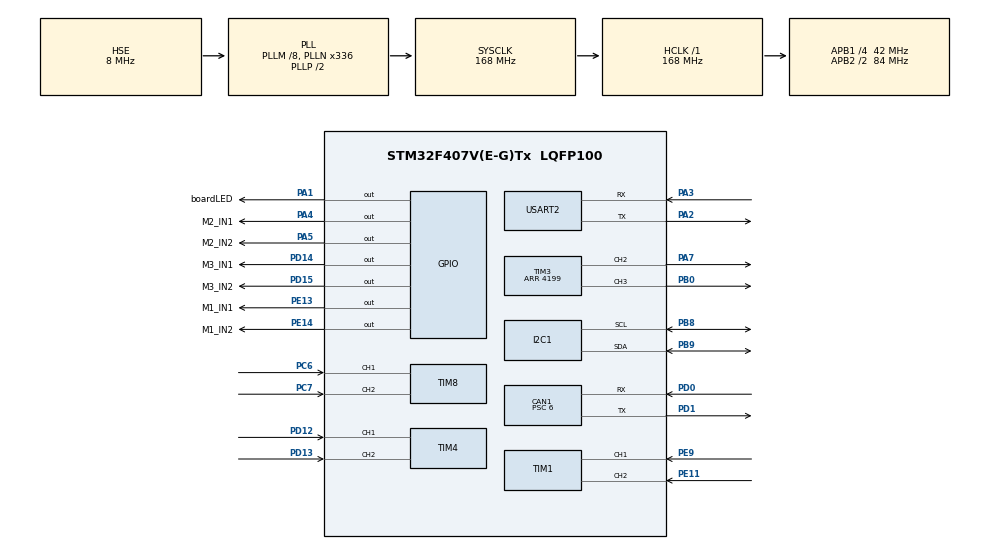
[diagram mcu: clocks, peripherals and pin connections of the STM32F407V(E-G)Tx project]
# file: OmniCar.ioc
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CAN1.BS1=CAN_BS1_11TQ
CAN1.BS2=CAN_BS2_2TQ
CAN1.CalculateBaudRate=500000
CAN1.CalculateTimeBit=2000
CAN1.CalculateTimeQuantum=142.85714285714286
CAN1.Prescaler=6
CAN1.SJW=CAN_SJW_1TQ
FREERTOS.Tasks01=defaultTask,24,256,StartDefaultTask,Default,NULL,Dynamic,NULL,NULL
FREERTOS.configCHECK_FOR_STACK_OVERFLOW=2
FREERTOS.configTOTAL_HEAP_SIZE=32768
FREERTOS.configUSE_MALLOC_FAILED_HOOK=1
FREERTOS.configUSE_STATS_FORMATTING_FUNCTIONS=1
I2C1.I2C_Mode=I2C_Fast
Mcu.Family=STM32F4
Mcu.Name=STM32F407V(E-G)Tx
Mcu.Package=LQFP100
NVIC.CAN1_RX0_IRQn=true\:5\:0\:false\:false\:true\:true\:true\:true\:true
NVIC.PriorityGroup=NVIC_PRIORITYGROUP_4
NVIC.TIM6_DAC_IRQn=true\:15\:0\:false\:false\:true\:false\:false\:true\:true
NVIC.TimeBase=TIM6_DAC_IRQn
NVIC.TimeBaseIP=TIM6
PA1.GPIO_Label=boardLED
PA1.GPIO_ModeDefaultOutputPP=GPIO_MODE_OUTPUT_OD
PA1.GPIO_PuPd=GPIO_PULLUP
PA1.PinState=GPIO_PIN_RESET
PA1.Signal=GPIO_Output
PA13.Mode=Serial_Wire
PA13.Signal=SYS_JTMS-SWDIO
PA14.Mode=Serial_Wire
PA14.Signal=SYS_JTCK-SWCLK
PA2.Mode=Asynchronous
PA2.Signal=USART2_TX
PA3.Mode=Asynchronous
PA3.Signal=USART2_RX
PA4.GPIO_Label=M2_IN1
PA4.Signal=GPIO_Output
PA5.GPIO_Label=M2_IN2
PA5.Signal=GPIO_Output
PA7.Signal=S_TIM3_CH2
PB0.Signal=S_TIM3_CH3
PB8.Mode=I2C
PB8.Signal=I2C1_SCL
PB9.Mode=I2C
PB9.Signal=I2C1_SDA
PC14-OSC32_IN.Mode=LSE-External-Oscillator
PC14-OSC32_IN.Signal=RCC_OSC32_IN
PC15-OSC32_OUT.Mode=LSE-External-Oscillator
PC15-OSC32_OUT.Signal=RCC_OSC32_OUT
PC6.Signal=S_TIM8_CH1
PC7.Signal=S_TIM8_CH2
PD0.Mode=CAN_Activate
PD0.Signal=CAN1_RX
PD1.Mode=CAN_Activate
PD1.Signal=CAN1_TX
PD12.Signal=S_TIM4_CH1
PD13.Signal=S_TIM4_CH2
PD14.GPIO_Label=M3_IN1
PD14.Signal=GPIO_Output
PD15.GPIO_Label=M3_IN2
PD15.Signal=GPIO_Output
PE11.Signal=S_TIM1_CH2
PE13.GPIO_Label=M1_IN1
PE13.Signal=GPIO_Output
PE14.GPIO_Label=M1_IN2
PE14.Signal=GPIO_Output
PE9.Signal=S_TIM1_CH1
PH0-OSC_IN.Mode=HSE-External-Oscillator
PH0-OSC_IN.Signal=RCC_OSC_IN
PH1-OSC_OUT.Mode=HSE-External-Oscillator
PH1-OSC_OUT.Signal=RCC_OSC_OUT
ProjectManager.HeapSize=0x200
ProjectManager.StackSize=0x400
ProjectManager.TargetToolchain=CMake
RCC.48MHZClocksFreq_Value=84000000
RCC.AHBFreq_Value=168000000
RCC.APB1CLKDivider=RCC_HCLK_DIV4
RCC.APB1Freq_Value=42000000
RCC.APB1TimFreq_Value=84000000
RCC.APB2CLKDivider=RCC_HCLK_DIV2
RCC.APB2Freq_Value=84000000
RCC.APB2TimFreq_Value=168000000
RCC.CortexFreq_Value=168000000
RCC.HCLKFreq_Value=168000000
RCC.HSE_VALUE=8000000
RCC.HSI_VALUE=16000000
RCC.PLLM=8
RCC.PLLN=336
RCC.PLLSourceVirtual=RCC_PLLSOURCE_HSE
RCC.SYSCLKFreq_VALUE=168000000
RCC.SYSCLKSource=RCC_SYSCLKSOURCE_PLLCLK
RCC.VCOOutputFreq_Value=336000000
SH.S_TIM1_CH1.0=TIM1_CH1,Encoder_Interface
SH.S_TIM1_CH2.0=TIM1_CH2,Encoder_Interface
SH.S_TIM3_CH2.0=TIM3_CH2,PWM Generation2 CH2
SH.S_TIM3_CH3.0=TIM3_CH3,PWM Generation3 CH3
SH.S_TIM4_CH1.0=TIM4_CH1,Encoder_Interface
SH.S_TIM4_CH2.0=TIM4_CH2,Encoder_Interface
SH.S_TIM8_CH1.0=TIM8_CH1,Encoder_Interface
SH.S_TIM8_CH2.0=TIM8_CH2,Encoder_Interface
TIM1.AutoReloadPreload=TIM_AUTORELOAD_PRELOAD_ENABLE
TIM1.EncoderMode=TIM_ENCODERMODE_TI12
TIM3.AutoReloadPreload=TIM_AUTORELOAD_PRELOAD_ENABLE
TIM3.Channel-PWM\ Generation2\ CH2=TIM_CHANNEL_2
TIM3.Channel-PWM\ Generation3\ CH3=TIM_CHANNEL_3
TIM3.Period=4199
TIM4.AutoReloadPreload=TIM_AUTORELOAD_PRELOAD_ENABLE
TIM4.EncoderMode=TIM_ENCODERMODE_TI12
TIM8.AutoReloadPreload=TIM_AUTORELOAD_PRELOAD_ENABLE
TIM8.EncoderMode=TIM_ENCODERMODE_TI12
USART2.VirtualMode=VM_ASYNC
VP_FREERTOS_VS_CMSIS_V2.Mode=CMSIS_V2
VP_SYS_VS_tim6.Mode=TIM6
VP_TIM3_VS_ClockSourceINT.Mode=Internal
board=custom

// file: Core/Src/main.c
/* USER CODE BEGIN Header */
/**
  ******************************************************************************
  * @file           : main.c
  * @brief          : Main program body
  ******************************************************************************
  * @attention
  *
  * Copyright (c) 2026 STMicroelectronics.
  * All rights reserved.
  *
  * This software is licensed under terms that can be found in the LICENSE file
  * in the root directory of this software component.
  * If no LICENSE file comes with this software, it is provided AS-IS.
  *
  ******************************************************************************
  */
/* USER CODE END Header */
#include "main.h"
#include "cmsis_os.h"
#include "can.h"
#include "i2c.h"
#include "tim.h"
#include "usart.h"
#include "gpio.h"

/* USER CODE BEGIN Includes */
#include "App/main/app_main.h"
/* USER CODE END Includes */

void SystemClock_Config(void);
void MX_FREERTOS_Init(void);

int main(void)
{

  /* MCU Configuration--------------------------------------------------------*/

  /* Reset of all peripherals, Initializes the Flash interface and the Systick. */
  HAL_Init();

  /* Configure the system clock */
  SystemClock_Config();

  /* Initialize all configured peripherals */
  MX_GPIO_Init();
  MX_USART2_UART_Init();
  MX_TIM3_Init();
  MX_CAN1_Init();
  MX_I2C1_Init();
  MX_TIM1_Init();
  MX_TIM4_Init();
  MX_TIM8_Init();
  /* USER CODE BEGIN 2 */
  App_Init();
  /* USER CODE END 2 */

  /* Init scheduler */
  osKernelInitialize();  /* Call init function for freertos objects (in cmsis_os2.c) */
  MX_FREERTOS_Init();

  /* Start scheduler */
  osKernelStart();

  /* We should never get here as control is now taken by the scheduler */

  /* Infinite loop */
  while (1)
  {

    /* USER CODE BEGIN 3 */
    App_Loop();
  }
  /* USER CODE END 3 */
}

void SystemClock_Config(void)
{
  RCC_OscInitTypeDef RCC_OscInitStruct = {0};
  RCC_ClkInitTypeDef RCC_ClkInitStruct = {0};

  /** Configure the main internal regulator output voltage
  */
  __HAL_RCC_PWR_CLK_ENABLE();
  __HAL_PWR_VOLTAGESCALING_CONFIG(PWR_REGULATOR_VOLTAGE_SCALE1);

  /** Initializes the RCC Oscillators according to the specified parameters
  * in the RCC_OscInitTypeDef structure.
  */
  RCC_OscInitStruct.OscillatorType = RCC_OSCILLATORTYPE_HSE;
  RCC_OscInitStruct.HSEState = RCC_HSE_ON;
  RCC_OscInitStruct.PLL.PLLState = RCC_PLL_ON;
  RCC_OscInitStruct.PLL.PLLSource = RCC_PLLSOURCE_HSE;
  RCC_OscInitStruct.PLL.PLLM = 8;
  RCC_OscInitStruct.PLL.PLLN = 336;
  RCC_OscInitStruct.PLL.PLLP = RCC_PLLP_DIV2;
  RCC_OscInitStruct.PLL.PLLQ = 4;
  if (HAL_RCC_OscConfig(&RCC_OscInitStruct) != HAL_OK)
  {
    Error_Handler();
  }

  /** Initializes the CPU, AHB and APB buses clocks
  */
  RCC_ClkInitStruct.ClockType = RCC_CLOCKTYPE_HCLK|RCC_CLOCKTYPE_SYSCLK
                              |RCC_CLOCKTYPE_PCLK1|RCC_CLOCKTYPE_PCLK2;
  RCC_ClkInitStruct.SYSCLKSource = RCC_SYSCLKSOURCE_PLLCLK;
  RCC_ClkInitStruct.AHBCLKDivider = RCC_SYSCLK_DIV1;
  RCC_ClkInitStruct.APB1CLKDivider = RCC_HCLK_DIV4;
  RCC_ClkInitStruct.APB2CLKDivider = RCC_HCLK_DIV2;

  if (HAL_RCC_ClockConfig(&RCC_ClkInitStruct, FLASH_LATENCY_5) != HAL_OK)
  {
    Error_Handler();
  }
}

void HAL_TIM_PeriodElapsedCallback(TIM_HandleTypeDef *htim)
{
  if (htim->Instance == TIM6)
  {
    HAL_IncTick();
  }
}

void Error_Handler(void)
{
  __disable_irq();
  while (1)
  {
  }
}

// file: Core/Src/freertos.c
/* USER CODE BEGIN Header */
/**
  ******************************************************************************
  * File Name          : freertos.c
  * Description        : Code for freertos applications
  ******************************************************************************
  * @attention
  *
  * Copyright (c) 2026 STMicroelectronics.
  * All rights reserved.
  *
  * This software is licensed under terms that can be found in the LICENSE file
  * in the root directory of this software component.
  * If no LICENSE file comes with this software, it is provided AS-IS.
  *
  ******************************************************************************
  */
/* USER CODE END Header */

#include "FreeRTOS.h"
#include "task.h"
#include "main.h"
#include "cmsis_os.h"

/* USER CODE BEGIN Includes */
#include "App/main/app_main.h"
#include "App/cmd_handler/app_cmd_handler.h"

/* USER CODE END Includes */

/* Definitions for defaultTask */
osThreadId_t defaultTaskHandle;
const osThreadAttr_t defaultTask_attributes = {
  .name = "defaultTask",
  .stack_size = 256 * 4,
  .priority = (osPriority_t) osPriorityNormal,
};

void StartDefaultTask(void *argument);

void MX_FREERTOS_Init(void); /* (MISRA C 2004 rule 8.1) */

/* Hook prototypes */
void vApplicationStackOverflowHook(xTaskHandle xTask, signed char *pcTaskName);
void vApplicationMallocFailedHook(void);

/* USER CODE BEGIN 4 */
void vApplicationStackOverflowHook(xTaskHandle xTask, signed char *pcTaskName)
{
   /* Run time stack overflow checking is performed if
   configCHECK_FOR_STACK_OVERFLOW is defined to 1 or 2. This hook function is
   called if a stack overflow is detected. */
  (void)xTask;
  (void)pcTaskName;
  taskDISABLE_INTERRUPTS();
  for (;;)
  {
  }
}
/* USER CODE END 4 */

/* USER CODE BEGIN 5 */
void vApplicationMallocFailedHook(void)
{
   /* vApplicationMallocFailedHook() will only be called if
   configUSE_MALLOC_FAILED_HOOK is set to 1 in FreeRTOSConfig.h. It is a hook
   function that will get called if a call to pvPortMalloc() fails.
   pvPortMalloc() is called internally by the kernel whenever a task, queue,
   timer or semaphore is created. It is also called by various parts of the
   demo application. If heap_1.c or heap_2.c are used, then the size of the
   heap available to pvPortMalloc() is defined by configTOTAL_HEAP_SIZE in
   FreeRTOSConfig.h, and the xPortGetFreeHeapSize() API function can be used
   to query the size of free heap space that remains (although it does not
   provide information on how the remaining heap might be fragmented). */
  taskDISABLE_INTERRUPTS();
  for (;;)
  {
  }
}
/* USER CODE END 5 */

void MX_FREERTOS_Init(void) {

  /* Create the thread(s) */
  /* creation of defaultTask */
  defaultTaskHandle = osThreadNew(StartDefaultTask, NULL, &defaultTask_attributes);

  /* USER CODE BEGIN RTOS_THREADS */
  /* add threads, ... */
  /* v0.7.4：CAN 指令处理任务（收帧分发 / echo 应答） */
  {
    static const osThreadAttr_t canTask_attributes = {
      .name = "canTask",
      .stack_size = 256 * 4,
      .priority = (osPriority_t) osPriorityNormal,
    };
    osThreadNew(App_CmdHandler_Task, NULL, &canTask_attributes);
  }
  /* USER CODE END RTOS_THREADS */

}

void StartDefaultTask(void *argument)
{
  /* USER CODE BEGIN StartDefaultTask */
  /* Infinite loop */
  for(;;)
  {
    App_Loop();
  }
  /* USER CODE END StartDefaultTask */
}
